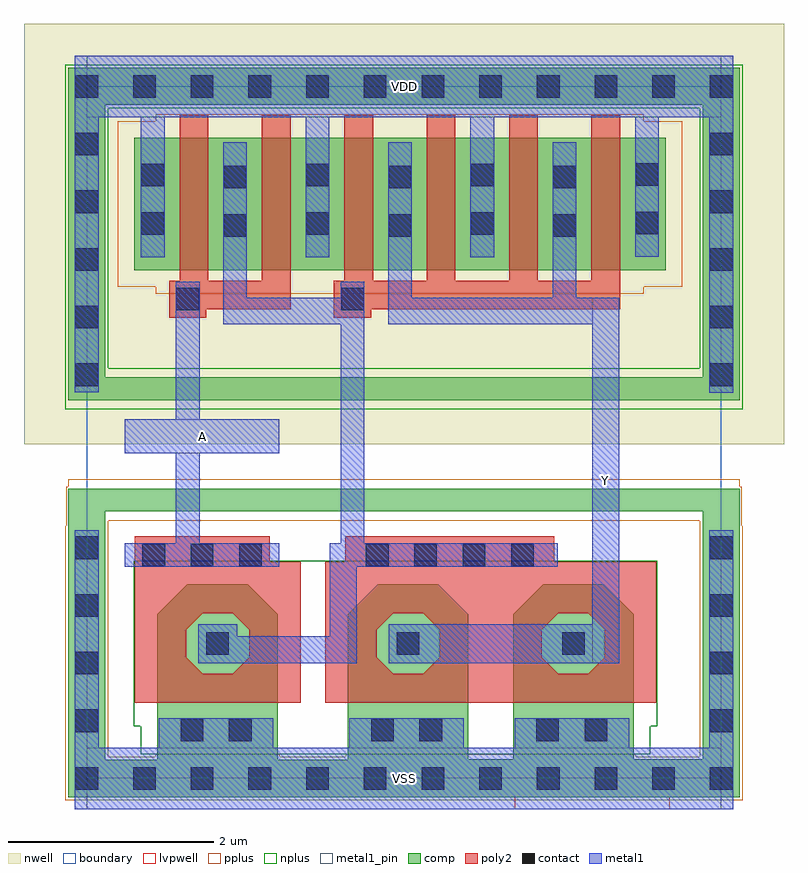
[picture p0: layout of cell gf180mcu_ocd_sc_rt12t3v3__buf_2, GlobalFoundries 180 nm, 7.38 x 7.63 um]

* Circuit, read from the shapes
.subckt gf180mcu_ocd_sc_rt12t3v3__buf_2 A VDD VSS Y
XM1 n1 A VSS VSS nfet_03v3 w=1.785u l=0.536u
XM2 Y n1 VSS VSS nfet_03v3 w=1.785u l=0.5354u
XM3 Y n1 VSS VSS nfet_03v3 w=1.785u l=0.5378u
XM4 n1 A VDD VDD pfet_03v3 w=1.285u l=0.28u m=2
XM5 Y n1 VDD VDD pfet_03v3 w=1.285u l=0.28u m=4
.ends

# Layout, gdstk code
import gdstk
lib = gdstk.Library(unit=1e-6, precision=1e-09)
def R(c, l, rs):  # rectangles x0, y0, x1, y1
    for r in rs: c.add(gdstk.rectangle(r[:2], r[2:], *l))
def A(c, l, x, y, w, h, nx, ny, dx, dy):  # array of equal rectangles
    R(c, l, [(x+i*dx, y+j*dy, x+i*dx+w, y+j*dy+h) for i in range(nx) for j in range(ny)])
def P(c, l, *ps):  # polygons
    for p in ps: c.add(gdstk.Polygon(p, *l))
boundary = (0, 0)
nwell = (21, 0)
comp = (22, 0)
poly2 = (30, 0)
pplus = (31, 0)
nplus = (32, 0)
contact = (33, 0)
metal1 = (34, 0)
metal1_pin = (34, 10)
lvpwell = (204, 0)

gf180mcu_ocd_sc_rt12t3v3 = lib.new_cell('gf180mcu_ocd_sc_rt12t3v3__buf_2')
R(gf180mcu_ocd_sc_rt12t3v3, boundary, [(0,0,6.16,6.72)])
R(gf180mcu_ocd_sc_rt12t3v3, nwell, [(-0.61,3.245,6.77,7.33)])
R(gf180mcu_ocd_sc_rt12t3v3, comp, [(-0.18,-0.18,6.34,0.18), (-0.18,0.18,0.18,2.595), (0.685,0.18,1.855,1.595), (2.535,0.18,6.34,0.185), (2.535,0.185,3.705,1.595), (4.14,0.185,5.31,1.595), (5.98,0.185,6.34,2.595), (0.975,1.595,1.565,1.885), (2.825,1.595,3.415,1.885), (4.43,1.595,5.02,1.885), (-0.18,2.595,6.34,2.815), (-0.18,3.675,6.34,3.895), (-0.18,3.895,0.18,6.54), (5.98,3.895,6.34,6.54), (0.46,4.935,5.62,6.22), (-0.18,6.54,6.34,6.9)])
P(gf180mcu_ocd_sc_rt12t3v3, comp, [(0.685,1.595),(0.975,1.595),(0.975,1.885)],
  [(1.565,1.885),(1.565,1.595),(1.855,1.595)],
  [(2.535,1.595),(2.825,1.595),(2.825,1.885)],
  [(3.415,1.885),(3.415,1.595),(3.705,1.595)],
  [(4.14,1.595),(4.43,1.595),(4.43,1.885)],
  [(5.02,1.885),(5.02,1.595),(5.31,1.595)])
A(gf180mcu_ocd_sc_rt12t3v3, poly2, 0.9, 4.835, 0.28, 1.605, 6, 1, 0.8, 0)
R(gf180mcu_ocd_sc_rt12t3v3, poly2, [(0.465,0.735,2.075,1.015), (2.315,0.735,5.53,1.015), (0.465,1.015,0.965,1.595), (1.575,1.015,2.075,1.595), (2.315,1.015,2.815,1.595), (3.425,1.015,4.42,1.595), (5.03,1.015,5.53,1.595), (0.465,1.595,1.115,1.605), (1.425,1.595,2.075,1.605), (2.315,1.595,2.965,1.605), (3.275,1.595,4.57,1.605), (4.88,1.595,5.53,1.605), (0.465,1.605,2.075,2.105), (2.315,1.605,5.53,2.105), (0.465,2.105,1.775,2.35), (2.51,2.105,4.54,2.35), (0.8,4.475,1.16,4.555), (2.4,4.475,2.76,4.555), (0.8,4.555,1.98,4.835), (2.4,4.555,5.18,4.835)])
P(gf180mcu_ocd_sc_rt12t3v3, poly2, [(1.115,1.595),(1.115,1.605),(1.125,1.605)],
  [(1.415,1.605),(1.425,1.605),(1.425,1.595)],
  [(0.965,1.445),(0.965,1.595),(1.115,1.595)],
  [(1.425,1.595),(1.575,1.595),(1.575,1.445)],
  [(0.965,1.175),(0.965,1.015),(1.125,1.015)],
  [(1.415,1.015),(1.575,1.015),(1.575,1.175)],
  [(2.965,1.595),(2.965,1.605),(2.975,1.605)],
  [(3.265,1.605),(3.275,1.605),(3.275,1.595)],
  [(4.57,1.595),(4.57,1.605),(4.58,1.605)],
  [(4.87,1.605),(4.88,1.605),(4.88,1.595)],
  [(2.815,1.445),(2.815,1.595),(2.965,1.595)],
  [(3.275,1.595),(3.425,1.595),(3.425,1.445)],
  [(2.815,1.175),(2.815,1.015),(2.975,1.015)],
  [(3.265,1.015),(3.425,1.015),(3.425,1.175)],
  [(4.42,1.445),(4.42,1.595),(4.57,1.595)],
  [(4.88,1.595),(5.03,1.595),(5.03,1.445)],
  [(4.42,1.175),(4.42,1.015),(4.58,1.015)],
  [(4.87,1.015),(5.03,1.015),(5.03,1.175)])
R(gf180mcu_ocd_sc_rt12t3v3, pplus, [(-0.21,-0.21,6.37,0.21), (-0.21,0.21,0.21,2.45), (0.665,0.21,1.875,0.235), (2.515,0.21,5.33,0.235), (5.95,0.21,6.37,2.45), (-0.2,2.45,0.21,2.505), (5.95,2.45,6.36,2.505), (-0.2,2.505,6.36,2.835), (-0.18,2.835,6.34,2.905), (0.67,4.705,5.41,4.775), (0.3,4.775,5.78,6.38), (0.67,6.38,5.41,6.45)])
R(gf180mcu_ocd_sc_rt12t3v3, nplus, [(0.525,0.235,5.47,0.505), (0.455,0.505,5.54,2.115), (-0.21,3.585,6.37,3.985), (-0.21,3.985,0.21,6.51), (5.95,3.985,6.37,6.51), (-0.21,6.51,6.37,6.93)])
A(gf180mcu_ocd_sc_rt12t3v3, contact, -0.11, -0.11, 0.22, 0.22, 12, 2, 0.56, 6.72)
A(gf180mcu_ocd_sc_rt12t3v3, contact, -0.11, 0.45, 0.22, 0.22, 1, 4, 0, 0.56)
A(gf180mcu_ocd_sc_rt12t3v3, contact, 6.05, 0.45, 0.22, 0.22, 1, 4, 0, 0.56)
A(gf180mcu_ocd_sc_rt12t3v3, contact, 0.54, 2.06, 0.22, 0.22, 3, 1, 0.47, 0)
A(gf180mcu_ocd_sc_rt12t3v3, contact, 2.71, 2.06, 0.22, 0.22, 4, 1, 0.47, 0)
A(gf180mcu_ocd_sc_rt12t3v3, contact, -0.11, 3.81, 0.22, 0.22, 1, 5, 0, 0.56)
A(gf180mcu_ocd_sc_rt12t3v3, contact, 6.05, 3.81, 0.22, 0.22, 1, 5, 0, 0.56)
A(gf180mcu_ocd_sc_rt12t3v3, contact, 1.33, 5.26, 0.22, 0.22, 3, 2, 1.6, 0.47)
A(gf180mcu_ocd_sc_rt12t3v3, contact, 0.53, 5.28, 0.22, 0.22, 3, 2, 1.6, 0.47)
R(gf180mcu_ocd_sc_rt12t3v3, contact, [(0.91,0.36,1.13,0.58), (1.38,0.36,1.6,0.58), (2.76,0.36,2.98,0.58), (3.23,0.36,3.45,0.58), (4.365,0.36,4.585,0.58), (4.835,0.36,5.055,0.58), (1.16,1.2,1.38,1.42), (3.01,1.2,3.23,1.42), (4.615,1.2,4.835,1.42), (0.87,4.545,1.09,4.765), (2.47,4.545,2.69,4.765), (5.33,5.285,5.55,5.505), (5.33,5.755,5.55,5.975)])
A(gf180mcu_ocd_sc_rt12t3v3, metal1, 1.325, 4.67, 0.23, 1.51, 3, 1, 1.6, 0)
A(gf180mcu_ocd_sc_rt12t3v3, metal1, 0.525, 5.06, 0.23, 1.36, 3, 1, 1.6, 0)
R(gf180mcu_ocd_sc_rt12t3v3, metal1, [(-0.115,-0.3,6.275,0.3), (-0.115,0.3,0.115,2.41), (0.7,0.3,1.81,0.585), (2.55,0.3,3.66,0.585), (4.155,0.3,5.265,0.585), (6.045,0.3,6.275,2.41), (1.08,1.12,2.62,1.38), (2.93,1.12,5.17,1.5), (1.08,1.38,1.46,1.5), (2.36,1.38,2.62,2.055), (4.91,1.5,5.17,4.41), (0.37,2.055,1.87,2.285), (2.36,2.055,4.575,2.285), (0.865,2.285,1.095,3.16), (2.465,2.285,2.695,4.41), (0.37,3.16,1.87,3.49), (0.865,3.49,1.095,4.825), (6.045,3.745,6.275,6.42), (-0.115,3.75,0.115,6.42), (1.325,4.41,2.695,4.67), (2.925,4.41,5.17,4.67), (2.465,4.67,2.695,4.825), (5.325,5.065,5.555,6.42), (-0.115,6.42,6.275,7.02)])
R(gf180mcu_ocd_sc_rt12t3v3, metal1_pin, [(0,-0.3,6.16,0.3), (4.91,1.12,5.17,4.67), (0.37,3.16,1.87,3.49), (0,6.42,6.16,7.02)])
R(gf180mcu_ocd_sc_rt12t3v3, lvpwell, [(0,-0.3,4.16,-0.18), (5.655,-0.3,6.16,-0.18), (-0.18,-0.18,6.34,2.815)])
gf180mcu_ocd_sc_rt12t3v3.add(gdstk.Label('A', (1.12,3.325), layer=34, texttype=10))
gf180mcu_ocd_sc_rt12t3v3.add(gdstk.Label('Y', (5.04,2.895), layer=34, texttype=10))
gf180mcu_ocd_sc_rt12t3v3.add(gdstk.Label('VDD', (3.08,6.72), layer=34, texttype=10))
gf180mcu_ocd_sc_rt12t3v3.add(gdstk.Label('VSS', (3.08,0), layer=34, texttype=10))

lib.write_gds('gf180mcu_ocd_sc_rt12t3v3__buf_2.gds')
